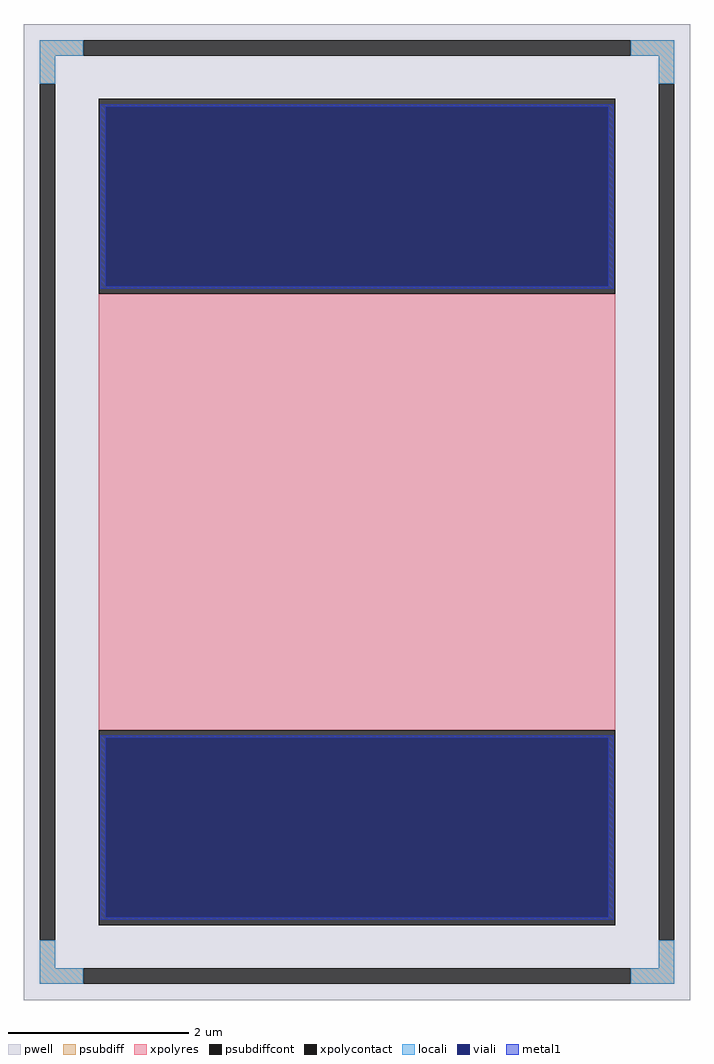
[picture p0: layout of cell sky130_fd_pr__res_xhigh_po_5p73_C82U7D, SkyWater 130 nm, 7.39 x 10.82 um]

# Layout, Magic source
magic
tech sky130A
magscale 1 2
<< pwell >>
rect -739 -1082 739 1082
<< psubdiff >>
rect -703 1012 -607 1046
rect 607 1012 703 1046
rect -703 950 -669 1012
rect 669 950 703 1012
rect -703 -1012 -669 -950
rect 669 -1012 703 -950
rect -703 -1046 -607 -1012
rect 607 -1046 703 -1012
<< psubdiffcont >>
rect -607 1012 607 1046
rect -703 -950 -669 950
rect 669 -950 703 950
rect -607 -1046 607 -1012
<< xpolycontact >>
rect -573 484 573 916
rect -573 -916 573 -484
<< xpolyres >>
rect -573 -484 573 484
<< locali >>
rect -703 1012 -607 1046
rect 607 1012 703 1046
rect -703 950 -669 1012
rect 669 950 703 1012
rect -703 -1012 -669 -950
rect 669 -1012 703 -950
rect -703 -1046 -607 -1012
rect 607 -1046 703 -1012
<< viali >>
rect -557 501 557 898
rect -557 -898 557 -501
<< metal1 >>
rect -569 898 569 904
rect -569 501 -557 898
rect 557 501 569 898
rect -569 495 569 501
rect -569 -501 569 -495
rect -569 -898 -557 -501
rect 557 -898 569 -501
rect -569 -904 569 -898
<< properties >>
string FIXED_BBOX -686 -1029 686 1029
string gencell sky130_fd_pr__res_xhigh_po_5p73
string library sky130
string parameters w 5.730 l 5 m 1 nx 1 wmin 5.730 lmin 0.50 rho 2000 val 1.81k dummy 0 dw 0.0 term 188.2 sterm 0.0 caplen 0 wmax 5.730 guard 1 glc 1 grc 1 gtc 1 gbc 1 compatible {sky130_fd_pr__res_xhigh_po_0p35  sky130_fd_pr__res_xhigh_po_0p69 sky130_fd_pr__res_xhigh_po_1p41  sky130_fd_pr__res_xhigh_po_2p85 sky130_fd_pr__res_xhigh_po_5p73} snake 0 full_metal 1 n_guard 0 hv_guard 0 vias 1 viagb 0 viagt 0 viagl 0 viagr 0
<< end >>
